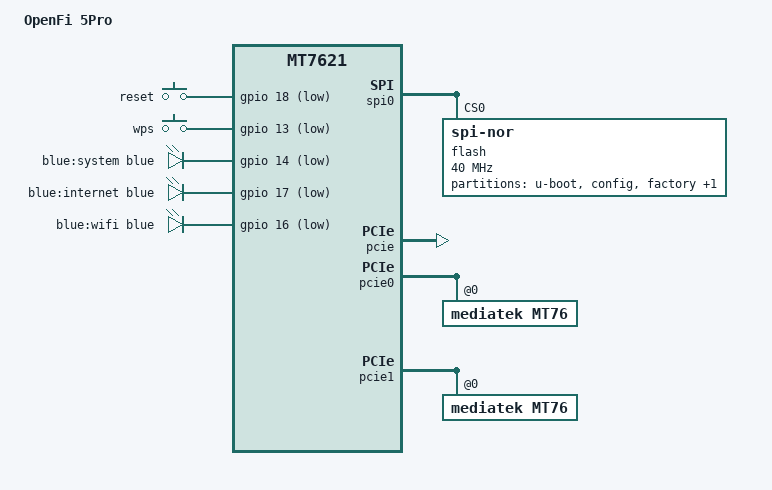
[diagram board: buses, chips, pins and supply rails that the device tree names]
// SPDX-License-Identifier: GPL-2.0-or-later OR MIT

#include "mt7621.dtsi"

#include <dt-bindings/gpio/gpio.h>
#include <dt-bindings/input/input.h>
#include <dt-bindings/leds/common.h>

/ {
	compatible = "openfi,5pro", "mediatek,mt7621-soc";
	model = "OpenFi 5Pro";

	aliases {
		led-boot = &led_system_blue;
		led-failsafe = &led_system_blue;
		led-running = &led_system_blue;
		led-upgrade = &led_system_blue;
	};

	chosen {
		bootargs = "console=ttyS0,115200";
	};

	keys {
		compatible = "gpio-keys";

		reset {
			label = "reset";
			gpios = <&gpio 18 GPIO_ACTIVE_LOW>;
			linux,code = <KEY_RESTART>;
		};

		wps {
			label = "wps";
			gpios = <&gpio 13 GPIO_ACTIVE_LOW>;
			linux,code = <KEY_WPS_BUTTON>;
		};
	};

	leds {
		compatible = "gpio-leds";

		led_system_blue: led-0 {
			label = "blue:system";
			color = <LED_COLOR_ID_BLUE>;
			function = LED_FUNCTION_STATUS;
			gpios = <&gpio 14 GPIO_ACTIVE_LOW>;
		};

		led_internet_blue: led-1 {
			label = "blue:internet";
			color = <LED_COLOR_ID_BLUE>;
			function = LED_FUNCTION_STATUS;
			gpios = <&gpio 17 GPIO_ACTIVE_LOW>;
		};

		led_wifi_blue: led-2 {
			label = "blue:wifi";
			color = <LED_COLOR_ID_BLUE>;
			linux,default-trigger = "phy0tpt";
			gpios = <&gpio 16 GPIO_ACTIVE_LOW>;
		};
	};
};

&spi0 {
	status = "okay";

	flash@0 {
		compatible = "jedec,spi-nor";
		reg = <0>;
		spi-max-frequency = <40000000>;
        broken-flash-reset;

		partitions {
			compatible = "fixed-partitions";
			#address-cells = <1>;
			#size-cells = <1>;

			partition@0 {
				label = "u-boot";
				reg = <0x0 0x30000>;
				read-only;
			};

			partition@30000 {
				label = "config";
				reg = <0x30000 0x10000>;
				read-only;
			};

			partition@40000 {
				label = "factory";
				reg = <0x40000 0x10000>;
				read-only;

				nvmem-layout {
					compatible = "fixed-layout";
					#address-cells = <1>;
					#size-cells = <1>;

					eeprom_factory_0: eeprom@0 {
						reg = <0x0 0x400>;
					};

					eeprom_factory_8000: eeprom@8000 {
						reg = <0x8000 0x4da8>;
					};

					macaddr_factory_e000: macaddr@e000 {
						reg = <0xe000 0x6>;
					};

					macaddr_factory_e006: macaddr@e006 {
						reg = <0xe006 0x6>;
					};
				};
			};

			partition@50000 {
				compatible = "denx,uimage";
				label = "firmware";
				reg = <0x50000 0x3fb0000>;
			};
		};
	};
};

&pcie {
	status = "okay";
};

&pcie0 {
	mt76@0,0 {
		compatible = "mediatek,mt76";
		reg = <0x0000 0 0 0 0>;
		ieee80211-freq-limit = <2400000 2500000>;
		nvmem-cells = <&eeprom_factory_0>;
		nvmem-cell-names = "eeprom";
	};
};

&pcie1 {
	mt76@0,0 {
		compatible = "mediatek,mt76";
		reg = <0x0000 0 0 0 0>;
		ieee80211-freq-limit = <5000000 6000000>;
		nvmem-cells = <&eeprom_factory_8000>;
		nvmem-cell-names = "eeprom";
	};
};

&switch0 {
	ports {
		port@0 {
			status = "okay";
			label = "wan";
			nvmem-cells = <&macaddr_factory_e006>;
			nvmem-cell-names = "mac-address";
		};
		port@1 {
			status = "okay";
			label = "lan";
			nvmem-cells = <&macaddr_factory_e000>;
			nvmem-cell-names = "mac-address";
		};
	};
};

&state_default {
	gpio {
		groups = "wdt";
		function = "gpio";
	};
};

